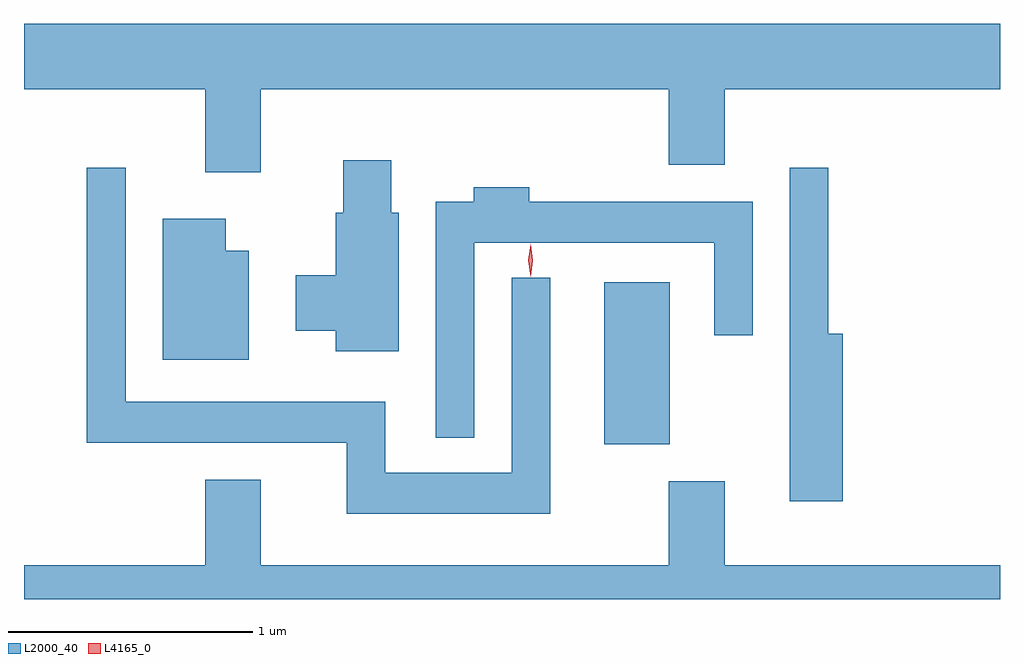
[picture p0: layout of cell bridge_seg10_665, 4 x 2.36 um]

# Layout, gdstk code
import gdstk
lib = gdstk.Library(unit=1e-6, precision=1e-09)
def R(c, l, rs):  # rectangles x0, y0, x1, y1
    for r in rs: c.add(gdstk.rectangle(r[:2], r[2:], *l))
def P(c, l, *ps):  # polygons
    for p in ps: c.add(gdstk.Polygon(p, *l))
L2000_40 = (2000, 40)
L4165_0 = (4165, 0)

bridge_seg10_665 = lib.new_cell('bridge_seg10_665')
R(bridge_seg10_665, L2000_40, [(1044.056,2128.001,1044.324,2128.664)])
P(bridge_seg10_665, L2000_40, [(1042.649,2129.456),(1044.321,2129.456),(1044.321,2129.146),(1044.549,2129.146),(1044.549,2129.456),(1045.678,2129.456),(1045.678,2129.724),(1041.678,2129.724),(1041.678,2129.456),(1042.421,2129.456),(1042.421,2129.116),(1042.649,2129.116)],
  [(1043.214,2128.949),(1043.184,2128.949),(1043.184,2129.164),(1042.986,2129.164),(1042.986,2128.949),(1042.956,2128.949),(1042.956,2128.694),(1042.791,2128.694),(1042.791,2128.466),(1042.956,2128.466),(1042.956,2128.381),(1043.214,2128.381)],
  [(1043.834,2128.683),(1043.676,2128.683),(1043.676,2127.884),(1043.159,2127.884),(1043.159,2128.174),(1042.094,2128.174),(1042.094,2129.133),(1041.936,2129.133),(1041.936,2128.006),(1043.001,2128.006),(1043.001,2127.716),(1043.834,2127.716)],
  [(1045.034,2128.454),(1044.974,2128.454),(1044.974,2129.133),(1044.816,2129.133),(1044.816,2127.766),(1045.034,2127.766)],
  [(1043.524,2128.826),(1044.506,2128.826),(1044.506,2128.448),(1044.664,2128.448),(1044.664,2128.994),(1043.749,2128.994),(1043.749,2129.054),(1043.521,2129.054),(1043.521,2128.994),(1043.366,2128.994),(1043.366,2128.028),(1043.524,2128.028)],
  [(1042.599,2128.794),(1042.504,2128.794),(1042.504,2128.924),(1042.246,2128.924),(1042.246,2128.346),(1042.599,2128.346)],
  [(1041.678,2127.365),(1045.678,2127.365),(1045.678,2127.504),(1044.549,2127.504),(1044.549,2127.849),(1044.321,2127.849),(1044.321,2127.504),(1042.649,2127.504),(1042.649,2127.854),(1042.421,2127.854),(1042.421,2127.504),(1041.678,2127.504)])
P(bridge_seg10_665, L4165_0, [(1043.754,2128.687),(1043.754,2128.687),(1043.744,2128.754),(1043.754,2128.82),(1043.754,2128.821),(1043.755,2128.82),(1043.764,2128.754),(1043.755,2128.687)])

lib.write_gds('bridge_seg10_665.gds')
